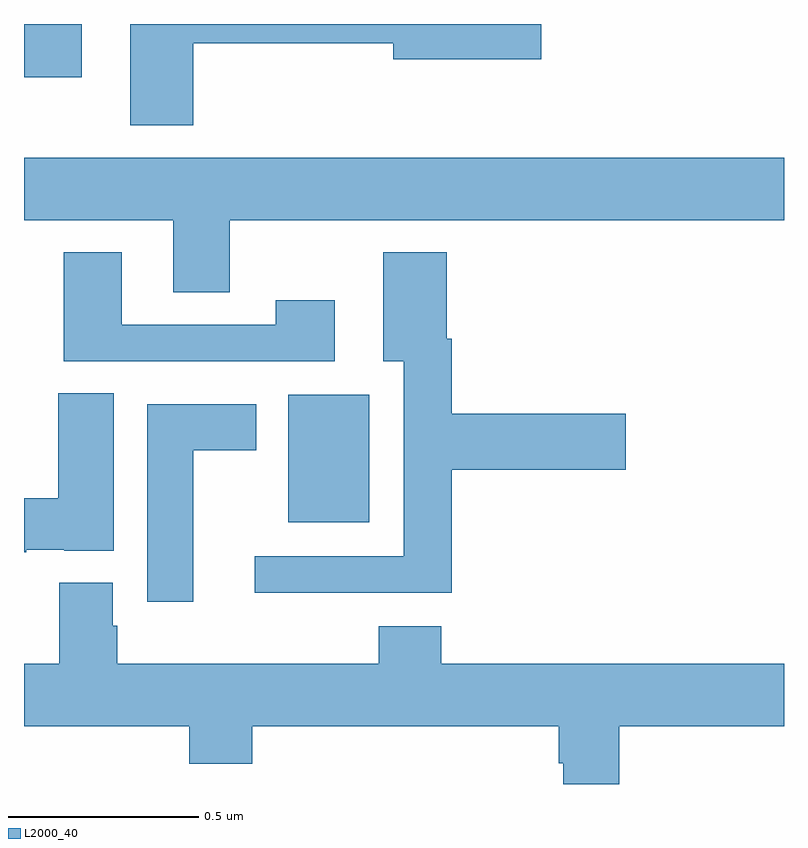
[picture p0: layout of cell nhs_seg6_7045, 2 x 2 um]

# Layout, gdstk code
import gdstk
lib = gdstk.Library(unit=1e-6, precision=1e-09)
def R(c, l, rs):  # rectangles x0, y0, x1, y1
    for r in rs: c.add(gdstk.rectangle(r[:2], r[2:], *l))
def P(c, l, *ps):  # polygons
    for p in ps: c.add(gdstk.Polygon(p, *l))
L2000_40 = (2000, 40)

nhs_seg6_7045 = lib.new_cell('nhs_seg6_7045')
R(nhs_seg6_7045, L2000_40, [(203.696,965.189,203.908,965.524), (203,966.36,203.152,966.5)])
P(nhs_seg6_7045, L2000_40, [(203.446,966.45),(203.972,966.45),(203.972,966.407),(204.361,966.407),(204.361,966.5),(203.279,966.5),(203.279,966.234),(203.446,966.234)],
  [(203.541,965.984),(205,965.984),(205,966.148),(203,966.148),(203,965.984),(203.393,965.984),(203.393,965.794),(203.541,965.794)],
  [(203.818,965.773),(203.662,965.773),(203.662,965.709),(203.257,965.709),(203.257,965.899),(203.105,965.899),(203.105,965.613),(203.818,965.613)],
  [(204.125,965.327),(204.583,965.327),(204.583,965.474),(204.125,965.474),(204.125,965.672),(204.112,965.672),(204.112,965.899),(203.945,965.899),(203.945,965.612),(203.999,965.612),(203.999,965.1),(203.607,965.1),(203.607,965.003),(204.125,965.003)],
  [(203.006,965.117),(203.106,965.117),(203.106,965.114),(203.236,965.114),(203.236,965.528),(203.09,965.528),(203.09,965.252),(203,965.252),(203,965.11),(203.006,965.11)],
  [(203.446,965.378),(203.611,965.378),(203.611,965.5),(203.324,965.5),(203.324,964.98),(203.446,964.98)],
  [(204.567,964.652),(205,964.652),(205,964.816),(204.098,964.816),(204.098,964.915),(203.933,964.915),(203.933,964.816),(203.246,964.816),(203.246,964.917),(203.233,964.917),(203.233,965.029),(203.093,965.029),(203.093,964.816),(203,964.816),(203,964.652),(203.435,964.652),(203.435,964.553),(203.6,964.553),(203.6,964.652),(204.407,964.652),(204.407,964.554),(204.419,964.554),(204.419,964.5),(204.567,964.5)])

lib.write_gds('nhs_seg6_7045.gds')
